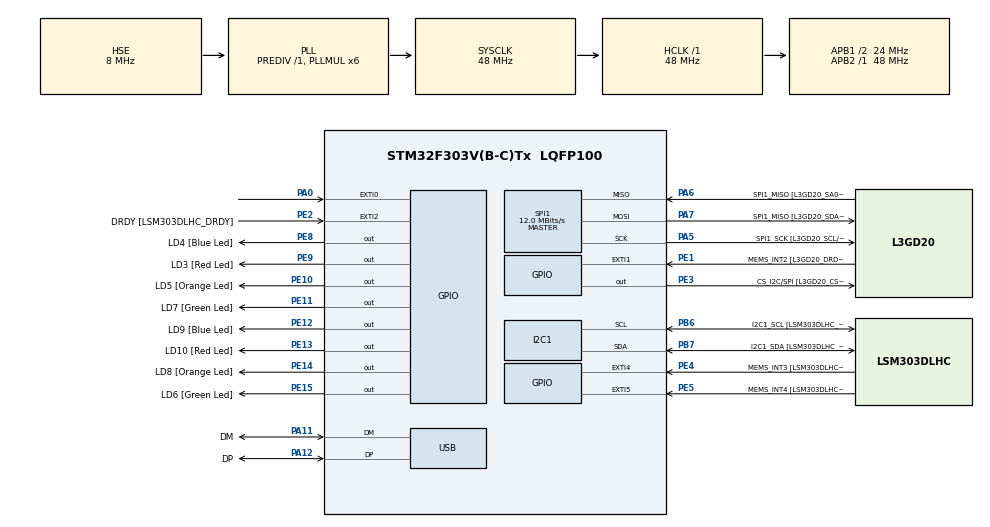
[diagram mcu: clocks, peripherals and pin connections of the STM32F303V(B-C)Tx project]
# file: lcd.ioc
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I2C1.Timing=0x2000090E
I2C1.Timing-I2C=0x2000090E
Mcu.Family=STM32F3
Mcu.Name=STM32F303V(B-C)Tx
Mcu.Package=LQFP100
NVIC.EXTI0_IRQn=true\:1\:0\:true\:false\:true\:true
NVIC.PriorityGroup=NVIC_PRIORITYGROUP_2
NVIC.TIM4_IRQn=true\:2\:0\:true\:false\:true\:true
PA0.GPIO_PuPd=GPIO_PULLDOWN
PA0.Signal=GPXTI0
PA11.GPIO_Label=DM
PA11.Mode=Device
PA11.Signal=USB_DM
PA12.GPIO_Label=DP
PA12.Mode=Device
PA12.Signal=USB_DP
PA13.GPIO_Label=SWDIO
PA13.Mode=Serial_Wire
PA13.Signal=SYS_JTMS-SWDIO
PA14.GPIO_Label=SWCLK
PA14.Mode=Serial_Wire
PA14.Signal=SYS_JTCK-SWCLK
PA5.GPIO_Label=SPI1_SCK [L3GD20_SCL/SPC]
PA5.Mode=Full_Duplex_Master
PA5.Signal=SPI1_SCK
PA6.GPIO_Label=SPI1_MISO [L3GD20_SA0/SDO]
PA6.Mode=Full_Duplex_Master
PA6.Signal=SPI1_MISO
PA7.GPIO_Label=SPI1_MISO [L3GD20_SDA/SDI/SDO]
PA7.Mode=Full_Duplex_Master
PA7.Signal=SPI1_MOSI
PB3.GPIO_Label=SWO
PB3.Signal=SYS_JTDO-TRACESWO
PB6.GPIO_Label=I2C1_SCL [LSM303DLHC_SCL]
PB6.Mode=I2C
PB6.Signal=I2C1_SCL
PB7.GPIO_Label=I2C1_SDA [LSM303DLHC_SDA]
PB7.Mode=I2C
PB7.Signal=I2C1_SDA
PC14-OSC32_IN.GPIO_Label=OSC32_IN
PC14-OSC32_IN.Signal=RCC_OSC32_IN
PC15-OSC32_OUT.GPIO_Label=OSC32_OUT
PC15-OSC32_OUT.Signal=RCC_OSC32_OUT
PE1.GPIO_Label=MEMS_INT2 [L3GD20_DRDY/INT2]
PE1.GPIO_ModeDefaultEXTI=GPIO_MODE_EVT_RISING
PE1.Signal=GPXTI1
PE10.GPIO_Label=LD5 [Orange Led]
PE10.Signal=GPIO_Output
PE11.GPIO_Label=LD7 [Green Led]
PE11.Signal=GPIO_Output
PE12.GPIO_Label=LD9 [Blue Led]
PE12.Signal=GPIO_Output
PE13.GPIO_Label=LD10 [Red Led]
PE13.Signal=GPIO_Output
PE14.GPIO_Label=LD8 [Orange Led]
PE14.Signal=GPIO_Output
PE15.GPIO_Label=LD6 [Green Led]
PE15.Signal=GPIO_Output
PE2.GPIO_Label=DRDY [LSM303DLHC_DRDY]
PE2.GPIO_ModeDefaultEXTI=GPIO_MODE_EVT_RISING
PE2.Signal=GPXTI2
PE3.GPIO_Label=CS_I2C/SPI [L3GD20_CS_I2C/SPI]
PE3.Signal=GPIO_Output
PE4.GPIO_Label=MEMS_INT3 [LSM303DLHC_INT1]
PE4.GPIO_ModeDefaultEXTI=GPIO_MODE_EVT_RISING
PE4.Signal=GPXTI4
PE5.GPIO_Label=MEMS_INT4 [LSM303DLHC_INT2]
PE5.GPIO_ModeDefaultEXTI=GPIO_MODE_EVT_RISING
PE5.Signal=GPXTI5
PE8.GPIO_Label=LD4 [Blue Led]
PE8.Signal=GPIO_Output
PE9.GPIO_Label=LD3 [Red Led]
PE9.Signal=GPIO_Output
PF0-OSC_IN.GPIO_Label=OSC_IN
PF0-OSC_IN.Mode=HSE-External-Clock-Source
PF0-OSC_IN.Signal=RCC_OSC_IN
PF1-OSC_OUT.GPIO_Label=OSC_OUT
PF1-OSC_OUT.Signal=RCC_OSC_OUT
ProjectManager.HeapSize=0x200
ProjectManager.StackSize=0x400
ProjectManager.TargetToolchain=MDK-ARM V5
RCC.AHBFreq_Value=48000000
RCC.APB1CLKDivider=RCC_HCLK_DIV2
RCC.APB1Freq_Value=24000000
RCC.APB1TimFreq_Value=48000000
RCC.APB2Freq_Value=48000000
RCC.APB2TimFreq_Value=48000000
RCC.CortexFreq_Value=48000000
RCC.HCLKFreq_Value=48000000
RCC.HSE_VALUE=8000000
RCC.HSI_VALUE=8000000
RCC.LSE_VALUE=32768
RCC.PLLMUL=RCC_PLL_MUL6
RCC.SYSCLKFreq_VALUE=48000000
RCC.SYSCLKSourceVirtual=RCC_SYSCLKSOURCE_PLLCLK
RCC.USBFreq_Value=48000000
SPI1.BaudRatePrescaler=SPI_BAUDRATEPRESCALER_4
SPI1.BaudRatePrescaler-Full_Duplex_Master=SPI_BAUDRATEPRESCALER_2
SPI1.CalculateBaudRate=12.0 MBits/s
SPI1.CalculateBaudRate-Full_Duplex_Master=24.0 MBits/s
SPI1.Direction=SPI_DIRECTION_2LINES
SPI1.Mode=SPI_MODE_MASTER
SPI1.Mode-Full_Duplex_Master=SPI_MODE_MASTER
SPI1.VirtualType=VM_MASTER
TIM4.Period=10000
TIM4.Prescaler=1199
VP_TIM4_VS_ClockSourceINT.Mode=Internal
board=STM32F3DISCOVERY

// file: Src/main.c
/**
  ******************************************************************************
  * @file           : main.c
  * @brief          : Main program body
  ******************************************************************************
  ** This notice applies to any and all portions of this file
  * that are not between comment pairs USER CODE BEGIN and
  * USER CODE END. Other portions of this file, whether
  * inserted by the user or by software development tools
  * are owned by their respective copyright owners.
  *
  * COPYRIGHT(c) 2021 STMicroelectronics
  *
  * Redistribution and use in source and binary forms, with or without modification,
  * are permitted provided that the following conditions are met:
  *   1. Redistributions of source code must retain the above copyright notice,
  *      this list of conditions and the following disclaimer.
  *   2. Redistributions in binary form must reproduce the above copyright notice,
  *      this list of conditions and the following disclaimer in the documentation
  *      and/or other materials provided with the distribution.
  *   3. Neither the name of STMicroelectronics nor the names of its contributors
  *      may be used to endorse or promote products derived from this software
  *      without specific prior written permission.
  *
  * THIS SOFTWARE IS PROVIDED BY THE COPYRIGHT HOLDERS AND CONTRIBUTORS "AS IS"
  * AND ANY EXPRESS OR IMPLIED WARRANTIES, INCLUDING, BUT NOT LIMITED TO, THE
  * IMPLIED WARRANTIES OF MERCHANTABILITY AND FITNESS FOR A PARTICULAR PURPOSE ARE
  * DISCLAIMED. IN NO EVENT SHALL THE COPYRIGHT HOLDER OR CONTRIBUTORS BE LIABLE
  * FOR ANY DIRECT, INDIRECT, INCIDENTAL, SPECIAL, EXEMPLARY, OR CONSEQUENTIAL
  * DAMAGES (INCLUDING, BUT NOT LIMITED TO, PROCUREMENT OF SUBSTITUTE GOODS OR
  * SERVICES; LOSS OF USE, DATA, OR PROFITS; OR BUSINESS INTERRUPTION) HOWEVER
  * CAUSED AND ON ANY THEORY OF LIABILITY, WHETHER IN CONTRACT, STRICT LIABILITY,
  * OR TORT (INCLUDING NEGLIGENCE OR OTHERWISE) ARISING IN ANY WAY OUT OF THE USE
  * OF THIS SOFTWARE, EVEN IF ADVISED OF THE POSSIBILITY OF SUCH DAMAGE.
  *
  ******************************************************************************
  */
#include "main.h"
#include "stm32f3xx_hal.h"

/* USER CODE BEGIN Includes */
#include "LiquidCrystal.h"
#include <stdio.h>
#include <stdlib.h>
/* USER CODE END Includes */

I2C_HandleTypeDef hi2c1;

SPI_HandleTypeDef hspi1;

TIM_HandleTypeDef htim4;

PCD_HandleTypeDef hpcd_USB_FS;

/* USER CODE BEGIN PV */
/* Private variables ---------------------------------------------------------*/

/* USER CODE END PV */

void SystemClock_Config(void);
static void MX_GPIO_Init(void);
static void MX_I2C1_Init(void);
static void MX_SPI1_Init(void);
static void MX_USB_PCD_Init(void);
static void MX_TIM4_Init(void);

/* USER CODE BEGIN PFP */
/* Private function prototypes -----------------------------------------------*/

/* USER CODE END PFP */

/* USER CODE BEGIN 0 */

typedef unsigned char byte;

byte fire[] = {
 0x00,
  0x04,
  0x08,
  0x1F,
  0x08,
  0x04,
  0x00,
  0x00
};

byte man[] = {
 0x0E,
  0x1E,
  0x15,
  0x05,
  0x1F,
  0x1E,
  0x0A,
  0x1B
};

int score = 0;
char snum[5] = "";
int manRow = 1;
int fireRow = 1;
int fireCol = 19;
_Bool isPlaying = 1;
_Bool isUpward = 0;

void initWorld(){

	isPlaying = 1;
	fireCol = 19;
	score=0;

clear();
begin(20,4);

createChar(0,fire);
createChar(1,man);

setCursor(5,0);
print("Score : ");
sprintf(snum, "%d", score);
print(snum);

setCursor(0,manRow);
write(1);

setCursor(fireCol,fireRow);
write(0);
}
/* USER CODE END 0 */

int main(void)
{

  /* MCU Configuration----------------------------------------------------------*/

  /* Reset of all peripherals, Initializes the Flash interface and the Systick. */
  HAL_Init();

  /* Configure the system clock */
  SystemClock_Config();

  /* Initialize all configured peripherals */
  MX_GPIO_Init();
  MX_I2C1_Init();
  MX_SPI1_Init();
  MX_USB_PCD_Init();
  MX_TIM4_Init();
  /* USER CODE BEGIN 2 */

LiquidCrystal(GPIOD, GPIO_PIN_8, GPIO_PIN_9, GPIO_PIN_10, GPIO_PIN_11, GPIO_PIN_12, GPIO_PIN_13, GPIO_PIN_14);
HAL_TIM_Base_Start_IT(&htim4);

	initWorld();

  /* USER CODE END 2 */

  /* Infinite loop */
  while (1)
  {

  }

}

void SystemClock_Config(void)
{

  RCC_OscInitTypeDef RCC_OscInitStruct;
  RCC_ClkInitTypeDef RCC_ClkInitStruct;
  RCC_PeriphCLKInitTypeDef PeriphClkInit;

    /**Initializes the CPU, AHB and APB busses clocks
    */
  RCC_OscInitStruct.OscillatorType = RCC_OSCILLATORTYPE_HSI|RCC_OSCILLATORTYPE_HSE;
  RCC_OscInitStruct.HSEState = RCC_HSE_BYPASS;
  RCC_OscInitStruct.HSEPredivValue = RCC_HSE_PREDIV_DIV1;
  RCC_OscInitStruct.HSIState = RCC_HSI_ON;
  RCC_OscInitStruct.HSICalibrationValue = 16;
  RCC_OscInitStruct.PLL.PLLState = RCC_PLL_ON;
  RCC_OscInitStruct.PLL.PLLSource = RCC_PLLSOURCE_HSE;
  RCC_OscInitStruct.PLL.PLLMUL = RCC_PLL_MUL6;
  if (HAL_RCC_OscConfig(&RCC_OscInitStruct) != HAL_OK)
  {
    _Error_Handler(__FILE__, __LINE__);
  }

    /**Initializes the CPU, AHB and APB busses clocks
    */
  RCC_ClkInitStruct.ClockType = RCC_CLOCKTYPE_HCLK|RCC_CLOCKTYPE_SYSCLK
                              |RCC_CLOCKTYPE_PCLK1|RCC_CLOCKTYPE_PCLK2;
  RCC_ClkInitStruct.SYSCLKSource = RCC_SYSCLKSOURCE_PLLCLK;
  RCC_ClkInitStruct.AHBCLKDivider = RCC_SYSCLK_DIV1;
  RCC_ClkInitStruct.APB1CLKDivider = RCC_HCLK_DIV2;
  RCC_ClkInitStruct.APB2CLKDivider = RCC_HCLK_DIV1;

  if (HAL_RCC_ClockConfig(&RCC_ClkInitStruct, FLASH_LATENCY_1) != HAL_OK)
  {
    _Error_Handler(__FILE__, __LINE__);
  }

  PeriphClkInit.PeriphClockSelection = RCC_PERIPHCLK_USB|RCC_PERIPHCLK_I2C1;
  PeriphClkInit.I2c1ClockSelection = RCC_I2C1CLKSOURCE_HSI;
  PeriphClkInit.USBClockSelection = RCC_USBCLKSOURCE_PLL;
  if (HAL_RCCEx_PeriphCLKConfig(&PeriphClkInit) != HAL_OK)
  {
    _Error_Handler(__FILE__, __LINE__);
  }

    /**Configure the Systick interrupt time
    */
  HAL_SYSTICK_Config(HAL_RCC_GetHCLKFreq()/1000);

    /**Configure the Systick
    */
  HAL_SYSTICK_CLKSourceConfig(SYSTICK_CLKSOURCE_HCLK);

  /* SysTick_IRQn interrupt configuration */
  HAL_NVIC_SetPriority(SysTick_IRQn, 0, 0);
}

/* I2C1 init function */
static void MX_I2C1_Init(void)
{

  hi2c1.Instance = I2C1;
  hi2c1.Init.Timing = 0x2000090E;
  hi2c1.Init.OwnAddress1 = 0;
  hi2c1.Init.AddressingMode = I2C_ADDRESSINGMODE_7BIT;
  hi2c1.Init.DualAddressMode = I2C_DUALADDRESS_DISABLE;
  hi2c1.Init.OwnAddress2 = 0;
  hi2c1.Init.OwnAddress2Masks = I2C_OA2_NOMASK;
  hi2c1.Init.GeneralCallMode = I2C_GENERALCALL_DISABLE;
  hi2c1.Init.NoStretchMode = I2C_NOSTRETCH_DISABLE;
  if (HAL_I2C_Init(&hi2c1) != HAL_OK)
  {
    _Error_Handler(__FILE__, __LINE__);
  }

    /**Configure Analogue filter
    */
  if (HAL_I2CEx_ConfigAnalogFilter(&hi2c1, I2C_ANALOGFILTER_ENABLE) != HAL_OK)
  {
    _Error_Handler(__FILE__, __LINE__);
  }

    /**Configure Digital filter
    */
  if (HAL_I2CEx_ConfigDigitalFilter(&hi2c1, 0) != HAL_OK)
  {
    _Error_Handler(__FILE__, __LINE__);
  }

}

/* SPI1 init function */
static void MX_SPI1_Init(void)
{

  /* SPI1 parameter configuration*/
  hspi1.Instance = SPI1;
  hspi1.Init.Mode = SPI_MODE_MASTER;
  hspi1.Init.Direction = SPI_DIRECTION_2LINES;
  hspi1.Init.DataSize = SPI_DATASIZE_4BIT;
  hspi1.Init.CLKPolarity = SPI_POLARITY_LOW;
  hspi1.Init.CLKPhase = SPI_PHASE_1EDGE;
  hspi1.Init.NSS = SPI_NSS_SOFT;
  hspi1.Init.BaudRatePrescaler = SPI_BAUDRATEPRESCALER_4;
  hspi1.Init.FirstBit = SPI_FIRSTBIT_MSB;
  hspi1.Init.TIMode = SPI_TIMODE_DISABLE;
  hspi1.Init.CRCCalculation = SPI_CRCCALCULATION_DISABLE;
  hspi1.Init.CRCPolynomial = 7;
  hspi1.Init.CRCLength = SPI_CRC_LENGTH_DATASIZE;
  hspi1.Init.NSSPMode = SPI_NSS_PULSE_ENABLE;
  if (HAL_SPI_Init(&hspi1) != HAL_OK)
  {
    _Error_Handler(__FILE__, __LINE__);
  }

}

/* TIM4 init function */
static void MX_TIM4_Init(void)
{

  TIM_ClockConfigTypeDef sClockSourceConfig;
  TIM_MasterConfigTypeDef sMasterConfig;

  htim4.Instance = TIM4;
  htim4.Init.Prescaler = 1199;
  htim4.Init.CounterMode = TIM_COUNTERMODE_UP;
  htim4.Init.Period = 10000;
  htim4.Init.ClockDivision = TIM_CLOCKDIVISION_DIV1;
  htim4.Init.AutoReloadPreload = TIM_AUTORELOAD_PRELOAD_DISABLE;
  if (HAL_TIM_Base_Init(&htim4) != HAL_OK)
  {
    _Error_Handler(__FILE__, __LINE__);
  }

  sClockSourceConfig.ClockSource = TIM_CLOCKSOURCE_INTERNAL;
  if (HAL_TIM_ConfigClockSource(&htim4, &sClockSourceConfig) != HAL_OK)
  {
    _Error_Handler(__FILE__, __LINE__);
  }

  sMasterConfig.MasterOutputTrigger = TIM_TRGO_RESET;
  sMasterConfig.MasterSlaveMode = TIM_MASTERSLAVEMODE_DISABLE;
  if (HAL_TIMEx_MasterConfigSynchronization(&htim4, &sMasterConfig) != HAL_OK)
  {
    _Error_Handler(__FILE__, __LINE__);
  }

}

/* USB init function */
static void MX_USB_PCD_Init(void)
{

  hpcd_USB_FS.Instance = USB;
  hpcd_USB_FS.Init.dev_endpoints = 8;
  hpcd_USB_FS.Init.speed = PCD_SPEED_FULL;
  hpcd_USB_FS.Init.ep0_mps = DEP0CTL_MPS_64;
  hpcd_USB_FS.Init.phy_itface = PCD_PHY_EMBEDDED;
  hpcd_USB_FS.Init.low_power_enable = DISABLE;
  hpcd_USB_FS.Init.battery_charging_enable = DISABLE;
  if (HAL_PCD_Init(&hpcd_USB_FS) != HAL_OK)
  {
    _Error_Handler(__FILE__, __LINE__);
  }

}

/** Configure pins as
        * Analog
        * Input
        * Output
        * EVENT_OUT
        * EXTI
        * Free pins are configured automatically as Analog (this feature is enabled through
        * the Code Generation settings)
*/
static void MX_GPIO_Init(void)
{

  GPIO_InitTypeDef GPIO_InitStruct;

  /* GPIO Ports Clock Enable */
  __HAL_RCC_GPIOE_CLK_ENABLE();
  __HAL_RCC_GPIOC_CLK_ENABLE();
  __HAL_RCC_GPIOF_CLK_ENABLE();
  __HAL_RCC_GPIOA_CLK_ENABLE();
  __HAL_RCC_GPIOB_CLK_ENABLE();
  __HAL_RCC_GPIOD_CLK_ENABLE();

  /*Configure GPIO pin Output Level */
  HAL_GPIO_WritePin(GPIOE, CS_I2C_SPI_Pin|LD4_Pin|LD3_Pin|LD5_Pin
                          |LD7_Pin|LD9_Pin|LD10_Pin|LD8_Pin
                          |LD6_Pin, GPIO_PIN_RESET);

  /*Configure GPIO pins : DRDY_Pin MEMS_INT3_Pin MEMS_INT4_Pin MEMS_INT2_Pin */
  GPIO_InitStruct.Pin = DRDY_Pin|MEMS_INT3_Pin|MEMS_INT4_Pin|MEMS_INT2_Pin;
  GPIO_InitStruct.Mode = GPIO_MODE_EVT_RISING;
  GPIO_InitStruct.Pull = GPIO_NOPULL;
  HAL_GPIO_Init(GPIOE, &GPIO_InitStruct);

  /*Configure GPIO pins : CS_I2C_SPI_Pin LD4_Pin LD3_Pin LD5_Pin
                           LD7_Pin LD9_Pin LD10_Pin LD8_Pin
                           LD6_Pin */
  GPIO_InitStruct.Pin = CS_I2C_SPI_Pin|LD4_Pin|LD3_Pin|LD5_Pin
                          |LD7_Pin|LD9_Pin|LD10_Pin|LD8_Pin
                          |LD6_Pin;
  GPIO_InitStruct.Mode = GPIO_MODE_OUTPUT_PP;
  GPIO_InitStruct.Pull = GPIO_NOPULL;
  GPIO_InitStruct.Speed = GPIO_SPEED_FREQ_LOW;
  HAL_GPIO_Init(GPIOE, &GPIO_InitStruct);

  /*Configure GPIO pins : PE6 PE7 PE0 */
  GPIO_InitStruct.Pin = GPIO_PIN_6|GPIO_PIN_7|GPIO_PIN_0;
  GPIO_InitStruct.Mode = GPIO_MODE_ANALOG;
  GPIO_InitStruct.Pull = GPIO_NOPULL;
  HAL_GPIO_Init(GPIOE, &GPIO_InitStruct);

  /*Configure GPIO pins : PC13 PC0 PC1 PC2
                           PC3 PC4 PC5 PC6
                           PC7 PC8 PC9 PC10
                           PC11 PC12 */
  GPIO_InitStruct.Pin = GPIO_PIN_13|GPIO_PIN_0|GPIO_PIN_1|GPIO_PIN_2
                          |GPIO_PIN_3|GPIO_PIN_4|GPIO_PIN_5|GPIO_PIN_6
                          |GPIO_PIN_7|GPIO_PIN_8|GPIO_PIN_9|GPIO_PIN_10
                          |GPIO_PIN_11|GPIO_PIN_12;
  GPIO_InitStruct.Mode = GPIO_MODE_ANALOG;
  GPIO_InitStruct.Pull = GPIO_NOPULL;
  HAL_GPIO_Init(GPIOC, &GPIO_InitStruct);

  /*Configure GPIO pins : PF9 PF10 PF2 PF4
                           PF6 */
  GPIO_InitStruct.Pin = GPIO_PIN_9|GPIO_PIN_10|GPIO_PIN_2|GPIO_PIN_4
                          |GPIO_PIN_6;
  GPIO_InitStruct.Mode = GPIO_MODE_ANALOG;
  GPIO_InitStruct.Pull = GPIO_NOPULL;
  HAL_GPIO_Init(GPIOF, &GPIO_InitStruct);

  /*Configure GPIO pin : PA0 */
  GPIO_InitStruct.Pin = GPIO_PIN_0;
  GPIO_InitStruct.Mode = GPIO_MODE_IT_RISING;
  GPIO_InitStruct.Pull = GPIO_PULLDOWN;
  HAL_GPIO_Init(GPIOA, &GPIO_InitStruct);

  /*Configure GPIO pins : PA1 PA2 PA3 PA4
                           PA8 PA9 PA10 PA15 */
  GPIO_InitStruct.Pin = GPIO_PIN_1|GPIO_PIN_2|GPIO_PIN_3|GPIO_PIN_4
                          |GPIO_PIN_8|GPIO_PIN_9|GPIO_PIN_10|GPIO_PIN_15;
  GPIO_InitStruct.Mode = GPIO_MODE_ANALOG;
  GPIO_InitStruct.Pull = GPIO_NOPULL;
  HAL_GPIO_Init(GPIOA, &GPIO_InitStruct);

  /*Configure GPIO pins : PB0 PB1 PB2 PB10
                           PB11 PB12 PB13 PB14
                           PB15 PB4 PB5 PB8
                           PB9 */
  GPIO_InitStruct.Pin = GPIO_PIN_0|GPIO_PIN_1|GPIO_PIN_2|GPIO_PIN_10
                          |GPIO_PIN_11|GPIO_PIN_12|GPIO_PIN_13|GPIO_PIN_14
                          |GPIO_PIN_15|GPIO_PIN_4|GPIO_PIN_5|GPIO_PIN_8
                          |GPIO_PIN_9;
  GPIO_InitStruct.Mode = GPIO_MODE_ANALOG;
  GPIO_InitStruct.Pull = GPIO_NOPULL;
  HAL_GPIO_Init(GPIOB, &GPIO_InitStruct);

  /*Configure GPIO pins : PD8 PD9 PD10 PD11
                           PD12 PD13 PD14 PD15
                           PD0 PD1 PD2 PD3
                           PD4 PD5 PD6 PD7 */
  GPIO_InitStruct.Pin = GPIO_PIN_8|GPIO_PIN_9|GPIO_PIN_10|GPIO_PIN_11
                          |GPIO_PIN_12|GPIO_PIN_13|GPIO_PIN_14|GPIO_PIN_15
                          |GPIO_PIN_0|GPIO_PIN_1|GPIO_PIN_2|GPIO_PIN_3
                          |GPIO_PIN_4|GPIO_PIN_5|GPIO_PIN_6|GPIO_PIN_7;
  GPIO_InitStruct.Mode = GPIO_MODE_ANALOG;
  GPIO_InitStruct.Pull = GPIO_NOPULL;
  HAL_GPIO_Init(GPIOD, &GPIO_InitStruct);

  /* EXTI interrupt init*/
  HAL_NVIC_SetPriority(EXTI0_IRQn, 1, 0);
  HAL_NVIC_EnableIRQ(EXTI0_IRQn);

}

void _Error_Handler(char *file, int line)
{
  while(1)
  {
  }
}

/************************ (C) COPYRIGHT STMicroelectronics *****END OF FILE****/
